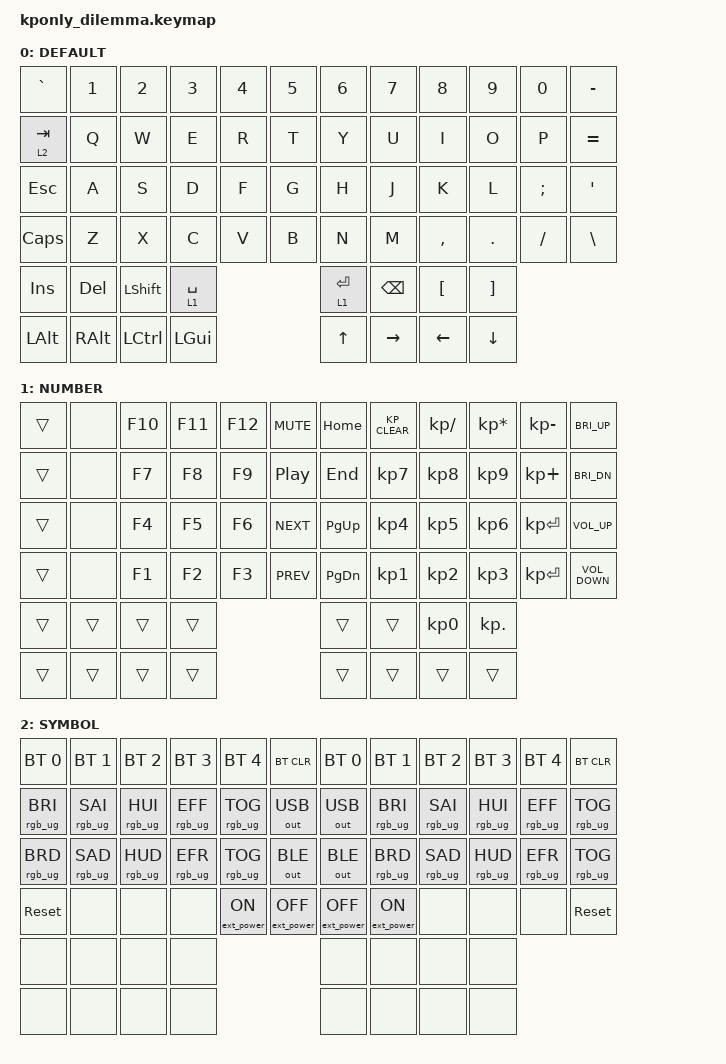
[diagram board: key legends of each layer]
#include <behaviors.dtsi>
#include <dt-bindings/zmk/bt.h>
#include <dt-bindings/zmk/ext_power.h>
#include <dt-bindings/zmk/keys.h>
#include <dt-bindings/zmk/outputs.h>
#include <dt-bindings/zmk/rgb.h>

#define DEFAULT 0
#define NUMBER  1
#define SYMBOL  2
#define HOTKEY  3

#define AS(keycode) &as LS(keycode) keycode

/ {
    behaviors {
        td0: tap_dance_0 {
            compatible = "zmk,behavior-tap-dance";
            label = "TAP_DANCE_0";
            #binding-cells = <0>;
            tapping-term-ms = <200>;
            bindings =
                <&kp ESC>,
                <&kp TAB>;
        };
    };

    behaviors {
        as: auto_shift {
            compatible = "zmk,behavior-hold-tap";
            label = "AUTO_SHIFT";
            #binding-cells = <2>;
            tapping-term-ms = <300>;
            quick-tap-ms = <0>;
            flavor = "tap-preferred";
            bindings =
                <&kp>,
                <&kp>;
        };
        modcp: mod_copy {
            compatible = "zmk,behavior-mod-morph";
            label = "MOD_COPY";
            #binding-cells = <0>;
            bindings =
                <&as LS(C) C>,
                <&kp C>;

            mods = <(LGUI | RGUI)>;
        };
    };

    macros {
        macro_phone: macro_phone {
            // 1351

            label = "MACRO_PHONE";
            compatible = "zmk,behavior-macro";
            #binding-cells = <0>;
            bindings = <&kp N1 &kp N3 &kp N5 &kp N1>;
        };
        macro_email_q: macro_email_q {
            // 2894512440@qq.com

            label = "MACRO_EMAIL_QQ";
            compatible = "zmk,behavior-macro";
            #binding-cells = <0>;
            bindings = <&kp N2 &kp N8 &kp N9 &kp N4 &kp N5 &kp N1 &kp N2 &kp N4 &kp N4 &kp N0 &kp AT &kp Q &kp Q &kp DOT &kp C &kp O &kp M>;
        };
        macro_email_g: macro_email_g {
            // 135115

            compatible = "zmk,behavior-macro";
            label = "MACRO_EMAIL_GMAIL";
            #binding-cells = <0>;
            bindings = <&kp N1 &kp N3 &kp N5 &kp N1 &kp N1 &kp N5>;
        };
    };

    keymap {
        compatible = "zmk,keymap";

        default_layer {
            label = "DEFAULT";
            bindings = <
                &kp GRAVE   &kp N1   &kp N2    &kp N3  &kp N4  &kp N5         &kp N6      &kp N7    &kp N8    &kp N9   &kp N0   &kp MINUS
                &lt 2 TAB   &kp Q    &kp W     &kp E   &kp R   &kp T          &kp Y       &kp U     &kp I     &kp O    &kp P    &kp EQUAL
                &kp ESC     &kp A    &kp S     &kp D   &kp F   &kp G          &kp H       &kp J     &kp K     &kp L    &kp SEMI &kp SQT
                &kp CAPS    &kp Z    &kp X     &kp C   &kp V   &kp B          &kp N       &kp M     &kp COMMA &kp DOT  &kp FSLH &kp BSLH  
                &kp INS     &kp DEL  &kp LSHFT  &lt 1 SPACE                   &lt 1 ENTER &kp BSPC  &kp LBKT  &kp RBKT          
                &kp LALT    &kp RALT &kp LCTRL   &kp LGUI                     &kp UP      &kp RIGHT &kp LEFT  &kp DOWN
            >;
        };

        number_layer {
            label = "NUMBER";
            bindings = <
                &trans  &none  &kp F10  &kp F11  &kp F12   &kp C_MUTE      &kp HOME    &KP_CLEAR     &kp KP_SLASH     &kp KP_MULTIPLY  &kp KP_MINUS    &kp C_BRI_UP
                &trans  &none   &kp F7   &kp F8   &kp F9   &kp C_PP        &kp END     &kp KP_N7     &kp KP_N8        &kp KP_N9        &kp KP_PLUS     &kp C_BRI_DN
                &trans  &none   &kp F4   &kp F5   &kp F6   &kp C_NEXT      &kp PG_UP   &kp KP_N4     &kp KP_N5        &kp KP_N6        &kp KP_ENTER    &kp C_VOLUME_UP 
                &trans  &none   &kp F1   &kp F2   &kp F3   &kp C_PREV      &kp PG_DN   &kp KP_N1     &kp KP_N2        &kp KP_N3        &kp KP_ENTER    &kp C_VOLUME_DOWN
                &trans   &trans   &trans  &trans                           &trans      &trans        &kp KP_N0        &kp KP_DOT
                &trans   &trans   &trans  &trans                           &trans      &trans        &trans            &trans
            >;
        };

        symbol_layer {
            label = "SYMBOL";
            bindings = <
                &bt BT_SEL 0     &bt BT_SEL 1     &bt BT_SEL 2     &bt BT_SEL 3      &bt BT_SEL 4          &bt BT_CLR         &bt BT_SEL 0       &bt BT_SEL 1     &bt BT_SEL 2     &bt BT_SEL 3     &bt BT_SEL 4       &bt BT_CLR
                &rgb_ug RGB_BRI  &rgb_ug RGB_SAI  &rgb_ug RGB_HUI  &rgb_ug RGB_EFF   &rgb_ug RGB_TOG       &out OUT_USB       &out OUT_USB       &rgb_ug RGB_BRI  &rgb_ug RGB_SAI  &rgb_ug RGB_HUI  &rgb_ug RGB_EFF  &rgb_ug RGB_TOG
                &rgb_ug RGB_BRD  &rgb_ug RGB_SAD  &rgb_ug RGB_HUD  &rgb_ug RGB_EFR   &rgb_ug RGB_TOG       &out OUT_BLE       &out OUT_BLE       &rgb_ug RGB_BRD  &rgb_ug RGB_SAD  &rgb_ug RGB_HUD  &rgb_ug RGB_EFR  &rgb_ug RGB_TOG
                &sys_reset       &none            &none            &none             &ext_power EP_ON      &ext_power EP_OFF  &ext_power EP_OFF  &ext_power EP_ON            &none            &none            &none       &sys_reset
                                            &none            &none             &none              &none              &none             &none            &none            &none
                                            &none            &none             &none              &none              &none             &none            &none            &none
            >;
        };
    };
};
